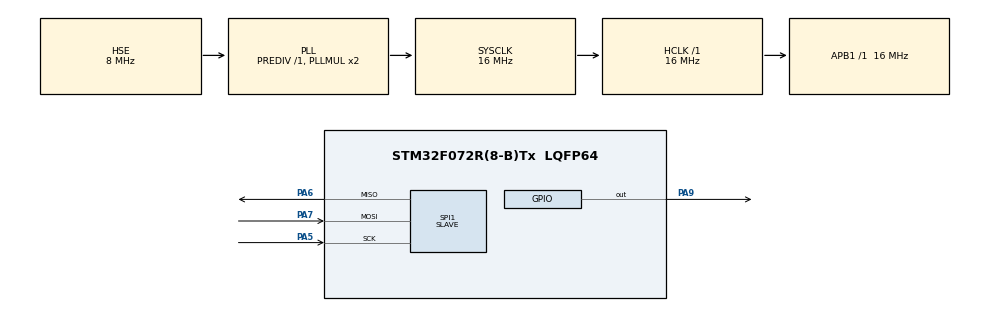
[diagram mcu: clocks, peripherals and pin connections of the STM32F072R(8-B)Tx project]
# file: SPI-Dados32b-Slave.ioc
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Mcu.Family=STM32F0
Mcu.Name=STM32F072R(8-B)Tx
Mcu.Package=LQFP64
PA5.Mode=Full_Duplex_Slave
PA5.Signal=SPI1_SCK
PA6.Mode=Full_Duplex_Slave
PA6.Signal=SPI1_MISO
PA7.Mode=Full_Duplex_Slave
PA7.Signal=SPI1_MOSI
PA9.Signal=GPIO_Output
PF0-OSC_IN.Mode=HSE-External-Oscillator
PF0-OSC_IN.Signal=RCC_OSC_IN
PF1-OSC_OUT.Mode=HSE-External-Oscillator
PF1-OSC_OUT.Signal=RCC_OSC_OUT
ProjectManager.HeapSize=0x200
ProjectManager.StackSize=0x400
ProjectManager.TargetToolchain=STM32CubeIDE
RCC.AHBFreq_Value=16000000
RCC.APB1Freq_Value=16000000
RCC.APB1TimFreq_Value=16000000
RCC.HCLKFreq_Value=16000000
RCC.PLLSourceVirtual=RCC_PLLSOURCE_HSE
RCC.SYSCLKFreq_VALUE=16000000
RCC.SYSCLKSource=RCC_SYSCLKSOURCE_PLLCLK
SPI1.DataSize=SPI_DATASIZE_16BIT
SPI1.Direction=SPI_DIRECTION_2LINES
SPI1.Mode=SPI_MODE_SLAVE
SPI1.VirtualType=VM_SLAVE
board=custom

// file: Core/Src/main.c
/* USER CODE BEGIN Header */
/**
  ******************************************************************************
  * @file           : main.c
  * @brief          : Main program body
  ******************************************************************************
  * @attention
  *
  * Copyright (c) 2024 STMicroelectronics.
  * All rights reserved.
  *
  * This software is licensed under terms that can be found in the LICENSE file
  * in the root directory of this software component.
  * If no LICENSE file comes with this software, it is provided AS-IS.
  *
  ******************************************************************************
  */
/* USER CODE END Header */
#include "main.h"

SPI_HandleTypeDef hspi1;

/* USER CODE BEGIN PV */
HAL_StatusTypeDef statusTx;
HAL_StatusTypeDef statusRx;
float testeFloat;
uint32_t testeBinario;
uint16_t binarioCima, binarioBaixo;
uint8_t spiRxBuffer[2];
uint8_t spiTxBuffer[2];

uint8_t receber[2];

float dadoTeste;

/* USER CODE END PV */

void SystemClock_Config(void);
static void MX_GPIO_Init(void);
static void MX_SPI1_Init(void);

int main(void)
{

  /* MCU Configuration--------------------------------------------------------*/

  /* Reset of all peripherals, Initializes the Flash interface and the Systick. */
  HAL_Init();

  /* Configure the system clock */
  SystemClock_Config();

  /* Initialize all configured peripherals */
  MX_GPIO_Init();
  MX_SPI1_Init();
  /* USER CODE BEGIN 2 */

  spiTxBuffer[0] = 1;
  spiTxBuffer[1] = 2;
  //spiTxBuffer[2] = 2;
  /* USER CODE END 2 */

  /* Infinite loop */
  /* USER CODE BEGIN WHILE */
  while (1)
  {
<<<<<<< Updated upstream
      statusRx = HAL_SPI_Receive(&hspi1, spiRxBuffer, sizeof(spiRxBuffer), 1000);
      statusTx = HAL_SPI_Transmit(&hspi1, spiTxBuffer, sizeof(spiTxBuffer), 1000);
      //testeBinario = (spiRxBuffer[0] << 16) + spiRxBuffer[1];
=======
      /*status = HAL_SPI_Receive(&hspi1, spiRxBuffer, sizeof(spiRxBuffer), 1000);
      testeBinario = (spiRxBuffer[0] << 16) + spiRxBuffer[1]; */

	  status= HAL_SPI_Receive(&hspi1, receber, sizeof(receber), 1000);
>>>>>>> Stashed changes

      HAL_Delay(1000);
      // Checar se a recepção foi bem-sucedida
      if (statusRx == HAL_OK) {
          // Sucesso: fazer algo com os dados recebidos
          // Exemplo: acender um LED se o dado recebido for 0xAB
<<<<<<< Updated upstream
          if (spiRxBuffer[0] == 3) {
=======

>>>>>>> Stashed changes
              HAL_GPIO_WritePin(GPIOA, GPIO_PIN_9, GPIO_PIN_SET);  // Exemplo: Acende um LED
          } else {
              HAL_GPIO_WritePin(GPIOA, GPIO_PIN_9, GPIO_PIN_RESET); // Apaga o LED
          }
          // Erro: tomar uma ação (por exemplo, piscar um LED de erro)

    /* USER CODE END WHILE */

  }
}

void SystemClock_Config(void)
{
  RCC_OscInitTypeDef RCC_OscInitStruct = {0};
  RCC_ClkInitTypeDef RCC_ClkInitStruct = {0};

  /** Initializes the RCC Oscillators according to the specified parameters
  * in the RCC_OscInitTypeDef structure.
  */
  RCC_OscInitStruct.OscillatorType = RCC_OSCILLATORTYPE_HSE;
  RCC_OscInitStruct.HSEState = RCC_HSE_ON;
  RCC_OscInitStruct.PLL.PLLState = RCC_PLL_ON;
  RCC_OscInitStruct.PLL.PLLSource = RCC_PLLSOURCE_HSE;
  RCC_OscInitStruct.PLL.PLLMUL = RCC_PLL_MUL2;
  RCC_OscInitStruct.PLL.PREDIV = RCC_PREDIV_DIV1;
  if (HAL_RCC_OscConfig(&RCC_OscInitStruct) != HAL_OK)
  {
    Error_Handler();
  }

  /** Initializes the CPU, AHB and APB buses clocks
  */
  RCC_ClkInitStruct.ClockType = RCC_CLOCKTYPE_HCLK|RCC_CLOCKTYPE_SYSCLK
                              |RCC_CLOCKTYPE_PCLK1;
  RCC_ClkInitStruct.SYSCLKSource = RCC_SYSCLKSOURCE_PLLCLK;
  RCC_ClkInitStruct.AHBCLKDivider = RCC_SYSCLK_DIV1;
  RCC_ClkInitStruct.APB1CLKDivider = RCC_HCLK_DIV1;

  if (HAL_RCC_ClockConfig(&RCC_ClkInitStruct, FLASH_LATENCY_0) != HAL_OK)
  {
    Error_Handler();
  }
}

static void MX_SPI1_Init(void)
{

  /* SPI1 parameter configuration*/
  hspi1.Instance = SPI1;
  hspi1.Init.Mode = SPI_MODE_SLAVE;
  hspi1.Init.Direction = SPI_DIRECTION_2LINES;
  hspi1.Init.DataSize = SPI_DATASIZE_16BIT;
  hspi1.Init.CLKPolarity = SPI_POLARITY_LOW;
  hspi1.Init.CLKPhase = SPI_PHASE_1EDGE;
  hspi1.Init.NSS = SPI_NSS_SOFT;
  hspi1.Init.FirstBit = SPI_FIRSTBIT_MSB;
  hspi1.Init.TIMode = SPI_TIMODE_DISABLE;
  hspi1.Init.CRCCalculation = SPI_CRCCALCULATION_DISABLE;
  hspi1.Init.CRCPolynomial = 7;
  hspi1.Init.CRCLength = SPI_CRC_LENGTH_DATASIZE;
  hspi1.Init.NSSPMode = SPI_NSS_PULSE_DISABLE;
  if (HAL_SPI_Init(&hspi1) != HAL_OK)
  {
    Error_Handler();
  }

}

static void MX_GPIO_Init(void)
{
  GPIO_InitTypeDef GPIO_InitStruct = {0};

  /* GPIO Ports Clock Enable */
  __HAL_RCC_GPIOF_CLK_ENABLE();
  __HAL_RCC_GPIOA_CLK_ENABLE();

  /*Configure GPIO pin Output Level */
  HAL_GPIO_WritePin(GPIOA, GPIO_PIN_9, GPIO_PIN_RESET);

  /*Configure GPIO pin : PA9 */
  GPIO_InitStruct.Pin = GPIO_PIN_9;
  GPIO_InitStruct.Mode = GPIO_MODE_OUTPUT_PP;
  GPIO_InitStruct.Pull = GPIO_NOPULL;
  GPIO_InitStruct.Speed = GPIO_SPEED_FREQ_LOW;
  HAL_GPIO_Init(GPIOA, &GPIO_InitStruct);

}

void Error_Handler(void)
{
  __disable_irq();
  while (1)
  {
  }
}
